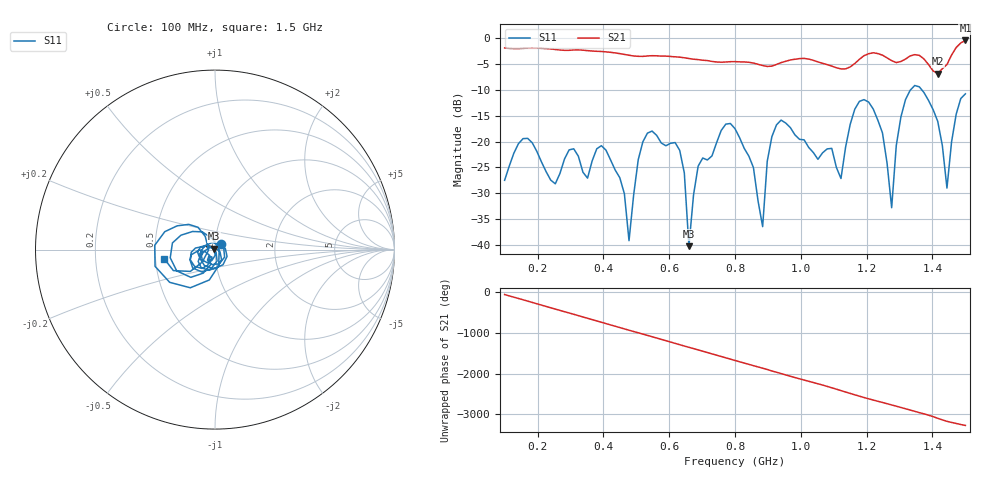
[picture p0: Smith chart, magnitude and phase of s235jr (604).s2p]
! NanoVNA-App
! Date: 2025-09-25 15:08:52
! Start: 100MHz Stop: 1,5GHz Points: 101
! S-Parameter data: F S11 S21 S12 S22
# Hz S RI R 50
!  Frequency  S11_Real  S11_Imag  S21_Real  S21_Imag  S12_Real  S12_Imag  S22_Real  S22_Imag
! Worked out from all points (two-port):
!   101 points, 100 MHz to 1.5 GHz, reference 50 ohm
!   highest |S21| = -0.52 dB at 1.5 GHz (marker M1); lowest = -6.9 dB at 1.416 GHz (marker M2)
!   |S21| within 3 dB of the highest: start of sweep to 493.1 MHz; 1.191 GHz to 1.252 GHz (61.78 MHz wide, 5.06 % of centre) (the widest 2 of 5)
!   lowest |S11| = -40.2 dB at 660 MHz (marker M3), VSWR 1.02, Z = 49.2 + j0.549 ohm
!   |S11| at or under -10 dB: start of sweep to 1.334 GHz; 1.367 GHz to end of sweep
!   S12 and S22 are empty: the file has one direction only
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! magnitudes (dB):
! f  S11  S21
! 100 MHz  -27.5  -2.0
! 156 MHz  -19.4  -2.0
! 338 MHz  -25.9  -2.4
! 408 MHz  -21.7  -2.7
! 478 MHz  -39.1  -3.4
! 520 MHz  -20.1  -3.6
! 576 MHz  -20.3  -3.5
! 632 MHz  -21.7  -3.7
! 660 MHz  -40.2  -4.0
! 688 MHz  -24.7  -4.2
! 800 MHz  -17.5  -4.6
! 884 MHz  -36.4  -5.3
! 926 MHz  -16.8  -5.1
! 1.038 GHz  -22.1  -4.3
! 1.122 GHz  -27.1  -6.0
! 1.206 GHz  -12.4  -3.1
! 1.276 GHz  -32.7  -4.4
! 1.29 GHz  -20.8  -4.8
! 1.332 GHz  -10.1  -3.5
! 1.416 GHz  -16.1  -6.9
! 1.444 GHz  -29.0  -5.2
! 1.5 GHz  -10.8  -0.5
